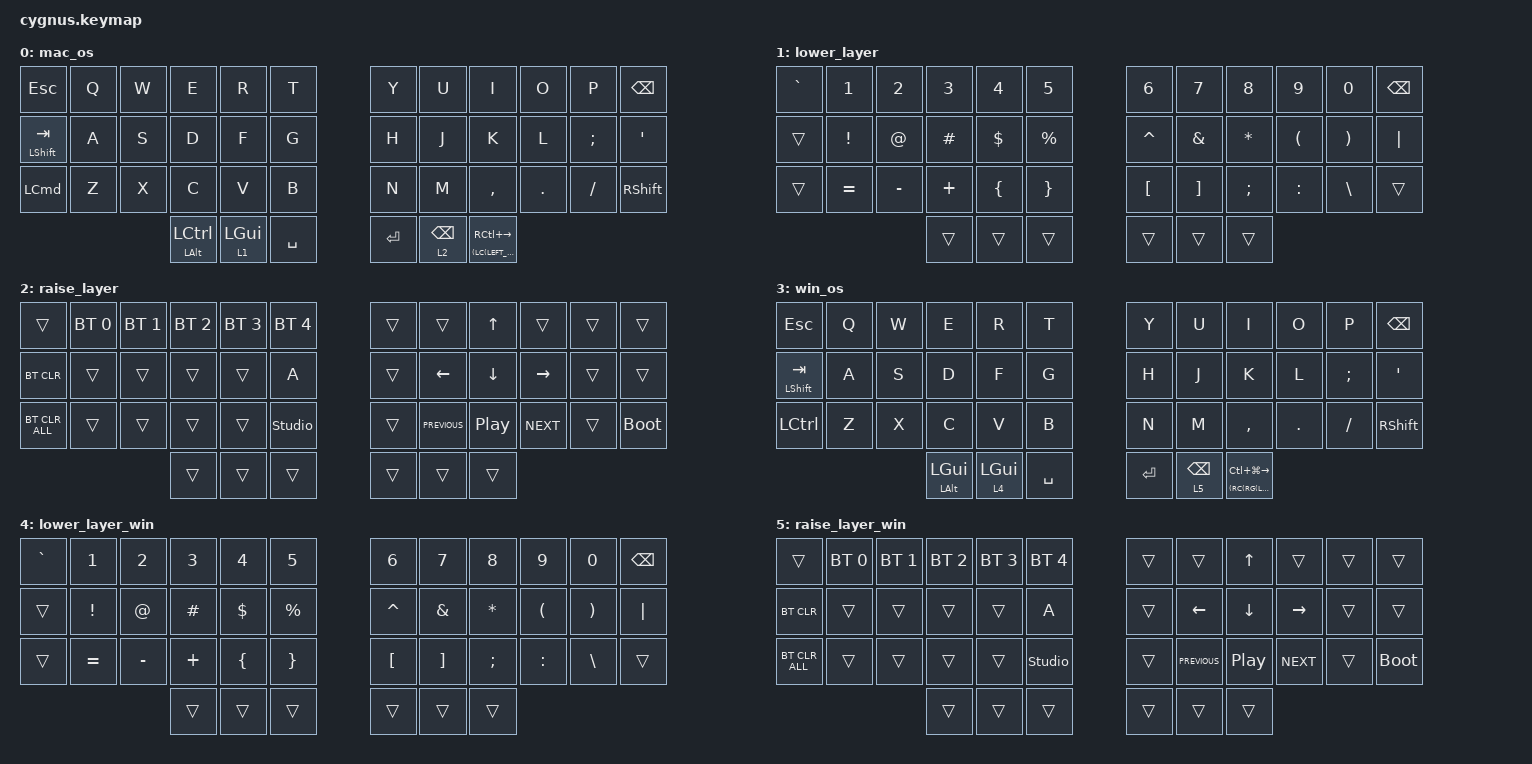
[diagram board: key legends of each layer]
#include <behaviors.dtsi>
#include <dt-bindings/zmk/bt.h>
#include <dt-bindings/zmk/keys.h>

/ {
    combos {
        compatible = "zmk,combos";

        del {
            bindings = <&kp DEL>;
            key-positions = <11 23>;
            layers = <0 1 2 3>;
        };

        mac_os {
            bindings = <&to 0>;
            key-positions = <16 15 17>;
            layers = <0 1 2 3>;
        };

        win_os {
            bindings = <&to 3>;
            key-positions = <27 28 29>;
            layers = <0 1 2 3>;
        };

        CAP {
            bindings = <&kp CAPSLOCK>;
            key-positions = <36 37>;
            layers = <0 1 2 3>;
        };
    };

    keymap {
        compatible = "zmk,keymap";

        mac_os {
            // -----------------------------------------------------------------------------------------
            // |  TAB |  Q  |  W  |  E  |  R  |  T  |   |  Y  |  U   |  I  |  O  |  P  | BSPC |
            // | CTRL |  A  |  S  |  D  |  F  |  G  |   |  H  |  J   |  K  |  L  |  ;  |  '   |
            // | SHFT |  Z  |  X  |  C  |  V  |  B  |   |  N  |  M   |  ,  |  .  |  /  | ESC  |
            //                    | GUI | LWR | SPC |   | ENT | RSE  | ALT |

            bindings = <
&kp ESC           &kp Q  &kp W  &kp E               &kp R           &kp T        &kp Y      &kp U            &kp I                           &kp O    &kp P          &kp BSPC
&mt LSHFT TAB     &kp A  &kp S  &kp D               &kp F           &kp G        &kp H      &kp J            &kp K                           &kp L    &kp SEMICOLON  &kp APOS
&kp LEFT_COMMAND  &kp Z  &kp X  &kp C               &kp V           &kp B        &kp N      &kp M            &kp COMMA                       &kp DOT  &kp FSLH       &kp RIGHT_SHIFT
                                &mt LEFT_ALT LCTRL  &lt 1 LEFT_GUI  &kp SPACE    &kp ENTER  &lt 2 BACKSPACE  &mt (LC(LEFT_ARROW)) RC(RIGHT)
            >;
        };

        lower_layer {
            // -----------------------------------------------------------------------------------------
            // |  TAB |  1  |  2  |  3  |  4  |  5  |   |  6  |  7  |  8  |  9  |  0  | BSPC |
            // | BTCLR| BT1 | BT2 | BT3 | BT4 | BT5 |   | LFT | DWN |  UP | RGT |     |      |
            // | SHFT |     |     |     |     |     |   |     |     |     |     |     |      |
            //                    | GUI |     | SPC |   | ENT |     | ALT |

            bindings = <
&kp GRAVE  &kp N1           &kp N2     &kp N3    &kp N4          &kp N5             &kp N6            &kp N7             &kp N8     &kp N9                &kp N0                 &kp BSPC
&trans     &kp EXCLAMATION  &kp AT     &kp HASH  &kp DOLLAR      &kp PERCENT        &kp CARET         &kp AMPS           &kp ASTRK  &kp LEFT_PARENTHESIS  &kp RIGHT_PARENTHESIS  &kp PIPE
&trans     &kp EQUAL        &kp MINUS  &kp PLUS  &kp LEFT_BRACE  &kp RIGHT_BRACE    &kp LEFT_BRACKET  &kp RIGHT_BRACKET  &kp SEMI   &kp COLON             &kp BACKSLASH          &trans
                                       &trans    &trans          &trans             &trans            &trans             &trans
            >;
        };

        raise_layer {
            // -----------------------------------------------------------------------------------------
            // |  TAB |  !  |  @  |  #  |  $  |  %  |   |  ^  |  &  |  *  |  (  |  )  | BSPC |
            // | CTRL |     |     |     |     |     |   |  -  |  =  |  [  |  ]  |  \  |  `   |
            // | SHFT |     |     |     |     |     |   |  _  |  +  |  {  |  }  | "|" |  ~   |
            //                    | GUI |     | SPC |   | ENT |     | ALT |

            bindings = <
&trans          &bt BT_SEL 0  &bt BT_SEL 1  &bt BT_SEL 2  &bt BT_SEL 3  &bt BT_SEL 4      &trans  &trans          &kp UP            &trans      &trans  &trans
&bt BT_CLR      &trans        &trans        &trans        &trans        &kp A             &trans  &kp LEFT        &kp DOWN          &kp RIGHT   &trans  &trans
&bt BT_CLR_ALL  &trans        &trans        &trans        &trans        &studio_unlock    &trans  &kp C_PREVIOUS  &kp C_PLAY_PAUSE  &kp C_NEXT  &trans  &bootloader
                                            &trans        &trans        &trans            &trans  &trans          &trans
            >;
        };

        win_os {
            bindings = <
&kp ESC           &kp Q  &kp W  &kp E                  &kp R           &kp T        &kp Y      &kp U            &kp I                                   &kp O    &kp P          &kp BSPC
&mt LSHFT TAB     &kp A  &kp S  &kp D                  &kp F           &kp G        &kp H      &kp J            &kp K                                   &kp L    &kp SEMICOLON  &kp APOS
&kp LEFT_CONTROL  &kp Z  &kp X  &kp C                  &kp V           &kp B        &kp N      &kp M            &kp COMMA                               &kp DOT  &kp FSLH       &kp RIGHT_SHIFT
                                &mt LEFT_ALT LEFT_GUI  &lt 4 LEFT_GUI  &kp SPACE    &kp ENTER  &lt 5 BACKSPACE  &mt (RC(RG(LEFT_ARROW))) LC(LG(RIGHT))
            >;
        };

        lower_layer_win {
            bindings = <
&kp GRAVE  &kp N1           &kp N2     &kp N3    &kp N4          &kp N5             &kp N6            &kp N7             &kp N8     &kp N9                &kp N0                 &kp BSPC
&trans     &kp EXCLAMATION  &kp AT     &kp HASH  &kp DOLLAR      &kp PERCENT        &kp CARET         &kp AMPS           &kp ASTRK  &kp LEFT_PARENTHESIS  &kp RIGHT_PARENTHESIS  &kp PIPE
&trans     &kp EQUAL        &kp MINUS  &kp PLUS  &kp LEFT_BRACE  &kp RIGHT_BRACE    &kp LEFT_BRACKET  &kp RIGHT_BRACKET  &kp SEMI   &kp COLON             &kp BACKSLASH          &trans
                                       &trans    &trans          &trans             &trans            &trans             &trans
            >;
        };

        raise_layer_win {
            bindings = <
&trans          &bt BT_SEL 0  &bt BT_SEL 1  &bt BT_SEL 2  &bt BT_SEL 3  &bt BT_SEL 4      &trans  &trans          &kp UP            &trans      &trans  &trans
&bt BT_CLR      &trans        &trans        &trans        &trans        &kp A             &trans  &kp LEFT        &kp DOWN          &kp RIGHT   &trans  &trans
&bt BT_CLR_ALL  &trans        &trans        &trans        &trans        &studio_unlock    &trans  &kp C_PREVIOUS  &kp C_PLAY_PAUSE  &kp C_NEXT  &trans  &bootloader
                                            &trans        &trans        &trans            &trans  &trans          &trans
            >;
        };
        reserved_1 { status = "reserved"; };
        reserved_2 { status = "reserved"; };
        reserved_3 { status = "reserved"; };
        reserved_4 { status = "reserved"; };
        reserved_5 { status = "reserved"; };
        reserved_6 { status = "reserved"; };
        reserved_7 { status = "reserved"; };
        reserved_8 { status = "reserved"; };
        reserved_9 { status = "reserved"; };
    };
};
